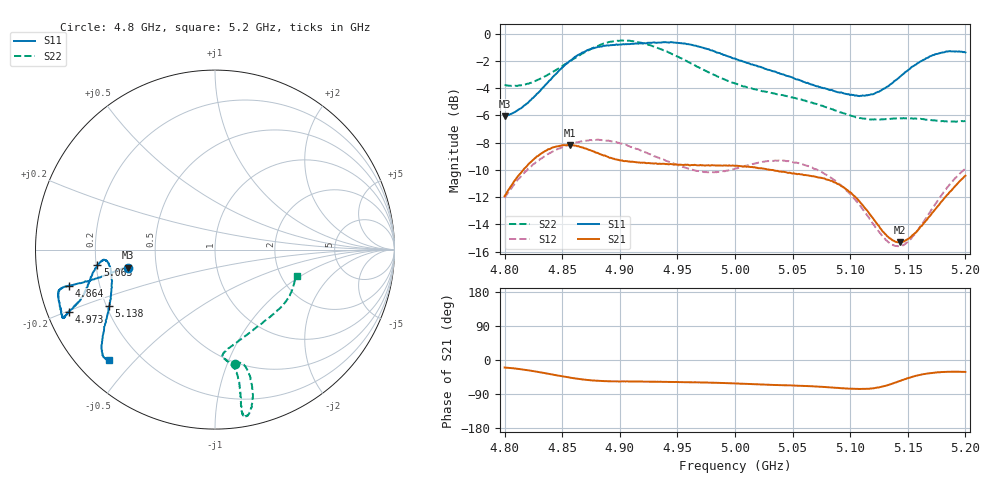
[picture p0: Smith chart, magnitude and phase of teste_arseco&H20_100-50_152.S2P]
! Network Analyzer HP8722D
! Hewlett-Packard
! Data name: Linha & Wilkinson
! Saver's name: Rodrigo Anjos
! Comments: Teste da utilização de aquisição
! continua pelo VNA HP8722D
! Time and date: 6/5/2025 13:50
!  Frequency  S11  S21  S12  S22
# HZ  S  MA R 50
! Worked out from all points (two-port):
!   401 points, 4.8 GHz to 5.2 GHz, reference 50 ohm
!   highest |S21| = -8.18 dB at 4.857 GHz (marker M1); lowest = -15.3 dB at 5.143 GHz (marker M2)
!   |S21| within 3 dB of the highest: 4.806 GHz to 5.092 GHz (286.4 MHz wide, 5.79 % of centre); 5.191281 GHz to end of sweep
!   lowest |S11| = -6.1 dB at 4.8 GHz (marker M3), VSWR 2.98, Z = 16.9 - j4.53 ohm
!   |S11| at or under -10 dB: nowhere
!   |S22| runs from -6.5 to -0.5 dB; largest |S21 - S12| = 0.62
!   S11 on the Smith chart (normalised r, x): 4.8 GHz: 0.34, -0.09; 4.864 GHz: 0.09, -0.12; 4.973 GHz: 0.06, -0.20; 5.063 GHz: 0.21, -0.06; 5.138 GHz: 0.21, -0.24; 5.2 GHz: 0.09, -0.42
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4.8e9  0.4975 -168.3  0.2533 -19.8  0.2494 -141.1  0.6484 -80.3
4.828e9  0.6017 -167.2  0.3545 -30.9  0.3388 -145.2  0.6747 -75.4
4.857e9  0.7963 -166.1  0.3901 -46.6  0.3933 -150.5  0.7937 -74.9
4.864e9  0.8364 -166.1  0.3871 -49.7  0.3995 -151.6  0.8274 -75.3
4.867e9  0.8513 -166.0  0.3832 -51.0  0.4022 -152.2  0.8442 -75.5
4.9e9  0.9131 -162.8  0.343 -56.5  0.3962 -156.6  0.9424 -79.2
4.934e9  0.9286 -156.7  0.3333 -57.6  0.3502 -155.8  0.8824 -80.6
4.95e9  0.9258 -155.8  0.3305 -58.2  0.3295 -152.9  0.8243 -80.1
4.973e9  0.8864 -157.0  0.3286 -59.5  0.3105 -146.0  0.7359 -79.7
5e9  0.8105 -159.1  0.3271 -61.9  0.3196 -137.4  0.6567 -81.4
5.04e9  0.7116 -167.0  0.3118 -66.2  0.3427 -134.8  0.5959 -85.9
5.063e9  0.6606 -172.6  0.3018 -68.8  0.3273 -136.5  0.5644 -83.6
5.067e9  0.65 -173.2  0.2997 -69.3  0.3226 -136.9  0.5586 -82.6
5.083e9  0.6209 -174.6  0.2884 -72.5  0.2966 -138.4  0.5305 -76.7
5.101e9  0.5977 -172.1  0.2598 -76.1  0.2546 -138.9  0.4993 -66.5
5.116e9  0.5961 -165.5  0.2203 -75.9  0.2118 -135.6  0.485 -55.8
5.134e9  0.6469 -154.4  0.1776 -65.1  0.1705 -120.5  0.4863 -43.2
5.138e9  0.6682 -152.0  0.1736 -60.9  0.167 -115.4  0.4881 -40.8
5.143e9  0.6936 -149.4  0.1712 -55.6  0.166 -108.7  0.4886 -38.1
5.154e9  0.7578 -144.6  0.182 -44.4  0.1798 -94.9  0.488 -32.3
5.173e9  0.8367 -139.1  0.2245 -33.4  0.2338 -80.9  0.4809 -24.3
5.2e9  0.8536 -133.9  0.3011 -31.6  0.3191 -77.0  0.4783 -17.6
